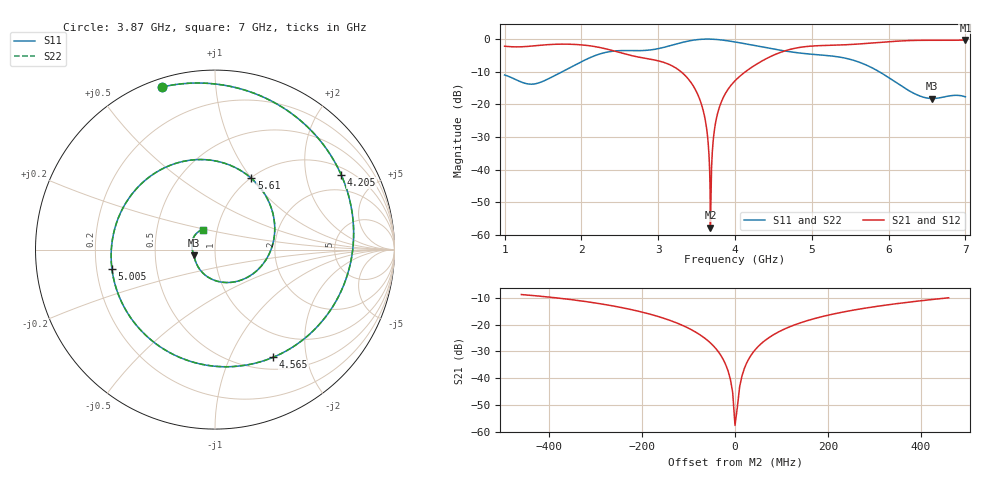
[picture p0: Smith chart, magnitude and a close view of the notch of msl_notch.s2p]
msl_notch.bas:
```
' ============================================================================
' openEMS MSL notch filter - CST reference model (E-009 / CST-001)
'
' Builds the same microstrip notch filter as
'   openEMS/.github/smoketests/python/MSL_NotchFilter.py
' so a CST S-parameter sweep can be compared with the converged openEMS result
' (notch at 3.6700 GHz, |S11| maximum).
'
' HOW TO RUN
'   1. Open CST Studio Suite and create a new "Microwave & RF / Time Domain"
'      project (any name).
'   2. Edit ProjectPath and ExportDir below to existing writable folders.
'   3. Home > Macros > Run Macro... and select this file.
'   4. The macro builds the model, runs the transient solver and saves the
'      project. Export the Touchstone file as described in README.md (the
'      result-tree export is deliberately left to you; the ASCIIExport API
'      differs between CST releases).
'
' This macro could not be executed in the migration environment (no CST
' installation). If an object/property name differs in your CST release, the
' macro stops on that line; README.md contains the same model as a manual
' recipe, which is the authoritative fallback. Please report the failing line
' together with your CST version.
' ============================================================================

Sub Main()
    Dim ProjectPath As String
    Dim ExportDir As String
    Dim FMinGHz As Double
    Dim FMaxGHz As Double
    Dim MeshLinesPerWave As Long

    ' ---------------------------------------------------------------- inputs
    ProjectPath = "C:\Users\mberkanbicer\Projects\openEMS-Project-rust\docs\migration\cst\msl_cst\msl_notch.cst"   ' <-- edit
    ExportDir = "C:\Users\mberkanbicer\Projects\openEMS-Project-rust\docs\migration\cst\msl_cst\export\"           ' <-- edit (trailing \)
    FMinGHz = 1.0
    FMaxGHz = 7.0
    MeshLinesPerWave = 20

    ' ---------------------------------------------------------------- units
    With Units
        .Geometry "um"
        .Frequency "GHz"
        .Time "ns"
        .Temperature "Kelvin"
    End With

    ' ----------------------------------------------------------- background
    With Background
        .Reset
        .Type "Normal"
        .Epsilon "1.0"
        .Mu "1.0"
        .ApplyInAllDirections "False"
    End With

    ' ----------------------------------------------------------- boundaries
    ' Ports sit on the x planes, so those boundaries stay "open" rather than
    ' "expanded open"; zmin is the ground plane.
    With Boundary
        .Xmin "open"
        .Xmax "open"
        .Ymin "open"
        .Ymax "open"
        .Zmin "electric"
        .Zmax "open"
        .ApplyInAllDirections "False"
    End With

    ' ------------------------------------------------------------ materials
    With Material
        .Reset
        .Name "RO4350B"
        .Folder ""
        .FrqType "all"
        .Type "Normal"
        .Epsilon "3.66"
        .Mu "1.0"
        .Sigma "0.0"
        .TanD "0.0"
        .Rho "0.0"
        .Create
    End With

    ' ------------------------------------------------------------- substrate
    ' 100 mm x 30 mm x 254 um, y = -9 mm .. +21 mm (stub area included).
    With Brick
        .Reset
        .Name "substrate"
        .Component "dielectric"
        .Material "RO4350B"
        .Xrange "-50000", "50000"
        .Yrange "-9000", "21000"
        .Zrange "0", "254"
        .Create
    End With

    ' --------------------------------------------------------- microstrip line
    ' 600 um wide, 35 um thick PEC (openEMS uses an ideal sheet at z = 254 um).
    With Brick
        .Reset
        .Name "strip"
        .Component "metal"
        .Material "PEC"
        .Xrange "-50000", "50000"
        .Yrange "-300", "300"
        .Zrange "254", "289"
        .Create
    End With

    ' ------------------------------------------------------------- open stub
    ' 600 um wide, 12 mm long, at the centre of the line.
    With Brick
        .Reset
        .Name "stub"
        .Component "metal"
        .Material "PEC"
        .Xrange "-300", "300"
        .Yrange "300", "12300"
        .Zrange "254", "289"
        .Create
    End With

    ' ------------------------------------------------------------ air volume
    ' The openEMS domain is 3 mm tall; without this brick the open zmax
    ' boundary would sit 35 um above the strip and detune the line.
    With Brick
        .Reset
        .Name "air"
        .Component "air"
        .Material "Vacuum"
        .Xrange "-50000", "50000"
        .Yrange "-9000", "21000"
        .Zrange "289", "3000"
        .Create
    End With

    ' ----------------------------------------------------------------- ports
    ' Waveguide ports over the substrate cross-section at both line ends.
    ' The y span is wider than the strip so the fringing field is included.
    With Port
        .Reset
        .PortNumber "1"
        .Label "port1"
        .NumberOfModes "1"
        .AdjustPolarization "False"
        .PolarizationAngle "0.0"
        .ReferencePlaneDistance "0"
        .TextSize "50"
        .Coordinates "Free"
        .Orientation "x"
        .PortOnBound "False"
        .ClipPickedPortToBound "False"
        .Xrange "-50000", "-50000"
        .Yrange "-3000", "3000"
        .Zrange "0", "500"
        .Create
    End With

    With Port
        .Reset
        .PortNumber "2"
        .Label "port2"
        .NumberOfModes "1"
        .AdjustPolarization "False"
        .PolarizationAngle "0.0"
        .ReferencePlaneDistance "0"
        .TextSize "50"
        .Coordinates "Free"
        .Orientation "x"
        .PortOnBound "False"
        .ClipPickedPortToBound "False"
        .Xrange "50000", "50000"
        .Yrange "-3000", "3000"
        .Zrange "0", "500"
        .Create
    End With

    ' ------------------------------------------------------------ frequency
    With Solver
        .Reset
        .Method "Hexahedral"
        .CalculationType "TD-S"
        .StimulationPort "All"
        .StimulationMode "All"
        .SteadyStateLimit "-40"
        .MeshAdaption "True"
        .RunDiscretizerMode "False"
        .AutoNormImpedance "False"
        .NormingImpedance "50"
        .SParaSymmetry "False"
        .StoreTDResultsInCache "False"
        .FullDeembedding "False"
        .UseBroadbandAdaptation "False"
    End With

    ' The hexahedral mesh is left to the adaptive refinement; the manual recipe
    ' in README.md sets the density explicitly for a mesh-independent run.

    ' The solver uses the project frequency range; set it explicitly.
    Solver.FrequencyRange FMinGHz, FMaxGHz

    ' --------------------------------------------------------------- solve
    Solver.Start

    ' --------------------------------------------------------------- save
    ' Save the project manually (Ctrl+S); export Touchstone as described in
    ' README.md (step 7).
    SelectTreeItem "1D Results\S-Parameters"

    MsgBox "Model built and solved." & vbCrLf & _
           "Export 1D Results > S-Parameters as Touchstone into:" & vbCrLf & _
           ExportDir, vbInformation, "openEMS CST reference"
End Sub
```
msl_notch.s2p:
! CST export from run_msl_notch_cst.py (openEMS MSL notch reference)
! substrate RO4350B 3.66, 254 um; line 600 um; stub 12 mm; ports at x=+/-50 mm
# Hz S RI R 50
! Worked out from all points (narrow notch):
!   1201 points, 1 GHz to 7 GHz, reference 50 ohm
!   highest |S21| = -0.32 dB at 7 GHz (marker M1); lowest = -57.7 dB at 3.68 GHz (marker M2)
!   notch at M2: 55.4 dB deep, 77.1 MHz wide at half that depth
!   lowest |S11| = -18.2 dB at 6.57 GHz (marker M3), VSWR 1.28, Z = 39.3 - j2.62 ohm
!   |S11| at or under -10 dB: start of sweep to 1.752 GHz; 5.878 GHz to end of sweep
!   |S22| runs from -18.2 to 0.0 dB; largest |S21 - S12| = 0
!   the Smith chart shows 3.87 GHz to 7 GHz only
!   S11 on the Smith chart (normalised r, x): 3.87 GHz: 0.04, +0.73; 4.205 GHz: 1.28, +3.19; 4.565 GHz: 0.66, -1.47; 5.005 GHz: 0.26, -0.09; 5.61 GHz: 1.01, +1.00; 7 GHz: 0.85, +0.19
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1e9  0.00305 0.2819  -0.6536 0.4168  -0.6536 0.4168  0.00305 0.2819
1.685e9  -0.1101 -0.2664  0.8322 0.0378  0.8322 0.0378  -0.1101 -0.2664
3.68e9  -0.885 0.4583  -0.000469 -0.00121  -0.000469 -0.00121  -0.885 0.4583
3.87e9  -0.2929 0.9063  0.1386 0.0367  0.1386 0.0367  -0.2929 0.9063
4e9  0.1836 0.8831  0.2209 -0.0626  0.2209 -0.0626  0.1836 0.8831
4.205e9  0.7036 0.4153  0.1677 -0.3198  0.1677 -0.3198  0.7036 0.4153
4.565e9  0.3254 -0.5994  -0.5164 -0.3213  -0.5164 -0.3213  0.3254 -0.5994
5.005e9  -0.5744 -0.1063  -0.1709 0.7627  -0.1709 0.7627  -0.5744 -0.1063
5.61e9  0.2027 0.3969  0.7089 -0.4495  0.7089 -0.4495  0.2027 0.3969
6.57e9  -0.1185 -0.0328  -0.4207 0.8589  -0.4207 0.8589  -0.1185 -0.0328
7e9  -0.0696 0.1104  0.8872 0.3761  0.8872 0.3761  -0.0696 0.1104
